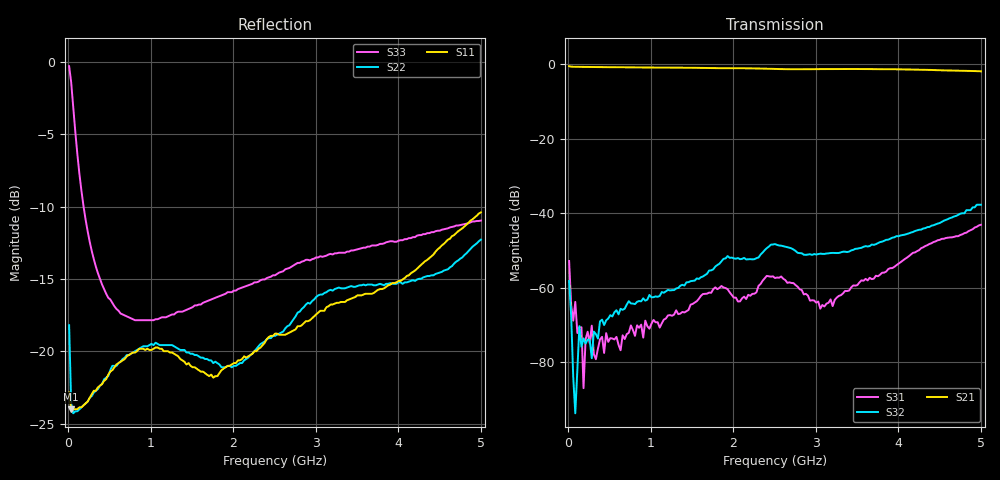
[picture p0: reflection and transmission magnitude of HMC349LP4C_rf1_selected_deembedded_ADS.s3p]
!Hittite Microwave Corporation
!12 Elizabeth Drive
!Chelmsford, MA 01824
!Tel: 978-250-3343
!Fax: 978-250-3373
!Device: HMC349LP4C, DC - 4 GHz High Isolation SPDT Non-Reflective Switch in Low Cost Leadless SMT Package
!Misc: Port1=RFC, Port2= RF1, Port3=RF2, RF1 ON, Bias: +5VDC
# MHZ S MA R 50
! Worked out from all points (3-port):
!   201 points, 10 MHz to 5 GHz, reference 50 ohm
!   strongest paths, dB at 10 MHz, 1.258 GHz, 2.505 GHz, 3.752 GHz, 5 GHz:
!     S21: -0.5, -0.9, -1.3, -1.3, -1.9
!     S32: -58.2, -60.6, -48.3, -48.0, -37.7
!     S31: -52.8, -67.5, -57.4, -56.9, -43.1
!   lowest |S11| = -24.0 dB at 34.95 MHz (marker M1), VSWR 1.13, Z = 56.6 + j0.994 ohm
!   |S11| at or under -10 dB: start of sweep to end of sweep
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10  0.072 43.0  0.945 -3.8  0.004003 -157.5
    0.941 -6.5  0.123 56.7  0.002932 40.6
    0.002289 -0.6  0.001231 129.6  0.967 -9.4
34.95  0.063 8.0  0.927 -2.9  0.0007665 10.1
       0.926 -2.9  0.066 11.9  0.0004535 -42.2
       0.0005839 -18.8  0.0004171 -1.4  0.85 -29.3
59.9  0.063 -2.1  0.923 -3.4  0.0007042 -26.2
      0.924 -3.5  0.061 -0.8  7.974e-05 173.1
      0.0003621 -115.2  6.319e-05 -77.4  0.7 -43.3
84.85  0.063 -7.6  0.923 -4.3  0.0006056 -56.2
       0.923 -4.3  0.062 -5.5  0.0005281 -42.9
       0.0006465 -36.2  2.069e-05 -171.2  0.574 -52.4
184.65  0.065 -25.3  0.92 -8.2  0.0001719 15.0
        0.92 -8.2  0.065 -21.3  0.0002955 28.7
        4.5e-05 -31.1  0.0002097 31.9  0.317 -67.0
284.45  0.071 -39.1  0.916 -12.1  0.0002672 23.4
        0.917 -12.2  0.07 -33.8  0.0002516 49.4
        0.0003102 31.5  0.0001136 74.5  0.222 -70.5
434.15  0.079 -53.8  0.913 -18.2  8.956e-05 43.4
        0.914 -18.2  0.08 -46.6  0.0003564 64.7
        0.0001336 40.0  0.0003163 69.9  0.164 -70.2
2505  0.115 -77.1  0.863 -101.9  0.001398 -84.4
      0.863 -101.9  0.113 -32.4  0.003815 76.1
      0.001352 -83.8  0.003859 76.6  0.183 -38.8
3053.9  0.138 -90.6  0.859 -123.2  0.0004997 -157.9
        0.859 -123.2  0.157 -25.1  0.002831 69.7
        0.0005246 -155.0  0.00287 69.4  0.213 -37.3
5000  0.302 105.7  0.803 147.5  0.007096 161.2
      0.803 147.5  0.243 -12.3  0.013 74.5
      0.007005 162.0  0.013 74.3  0.283 -35.8
